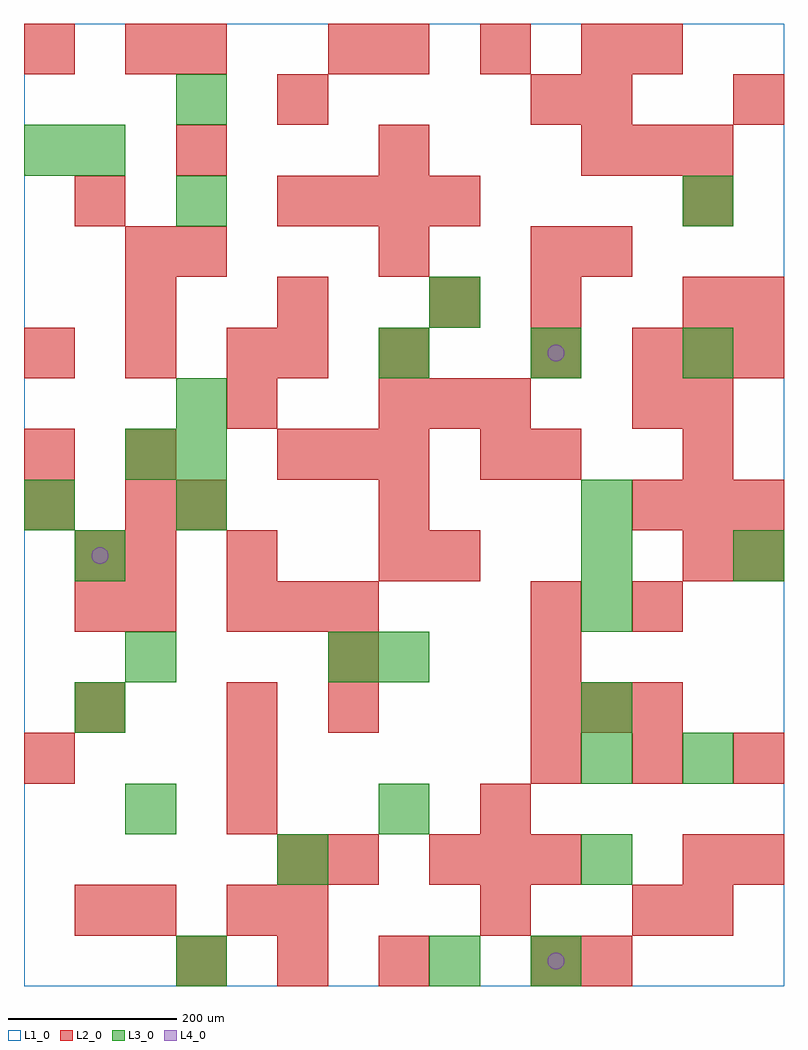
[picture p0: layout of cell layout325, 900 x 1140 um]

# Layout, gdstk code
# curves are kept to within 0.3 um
import gdstk
lib = gdstk.Library(unit=1e-6, precision=1e-09)
def R(c, l, rs):  # rectangles x0, y0, x1, y1
    for r in rs: c.add(gdstk.rectangle(r[:2], r[2:], *l))
def A(c, l, x, y, w, h, nx, ny, dx, dy):  # array of equal rectangles
    R(c, l, [(x+i*dx, y+j*dy, x+i*dx+w, y+j*dy+h) for i in range(nx) for j in range(ny)])
def P(c, l, *ps):  # polygons
    for p in ps: c.add(gdstk.Polygon(p, *l))
L1_0 = (1, 0)
L2_0 = (2, 0)
L3_0 = (3, 0)
L4_0 = (4, 0)

layout325 = lib.new_cell('layout325')
R(layout325, L1_0, [(0,0,900,1140)])
A(layout325, L2_0, 180, 0, 60, 60, 3, 1, 120, 0)
A(layout325, L2_0, 480, 120, 60, 60, 3, 1, 60, 0)
A(layout325, L2_0, 240, 180, 60, 60, 1, 3, 0, 60)
A(layout325, L2_0, 600, 240, 60, 60, 3, 1, 120, 0)
A(layout325, L2_0, 600, 300, 60, 60, 3, 1, 60, 0)
A(layout325, L2_0, 120, 420, 60, 60, 1, 4, 0, 60)
A(layout325, L2_0, 240, 420, 60, 60, 3, 1, 60, 0)
A(layout325, L2_0, 720, 540, 60, 60, 3, 2, 60, 180)
A(layout325, L2_0, 300, 600, 60, 60, 3, 1, 60, 0)
A(layout325, L2_0, 420, 660, 60, 60, 3, 1, 60, 0)
A(layout325, L2_0, 780, 660, 60, 60, 1, 3, 0, 120)
A(layout325, L2_0, 0, 720, 60, 60, 3, 1, 120, 0)
A(layout325, L2_0, 600, 720, 60, 60, 1, 3, 0, 60)
A(layout325, L2_0, 120, 780, 60, 60, 3, 1, 180, 0)
A(layout325, L2_0, 300, 900, 60, 60, 4, 1, 60, 0)
A(layout325, L2_0, 180, 960, 60, 60, 3, 1, 240, 0)
A(layout325, L2_0, 420, 1080, 60, 60, 3, 1, 120, 0)
R(layout325, L2_0, [(600,0,660,60), (660,0,720,60), (60,60,120,120), (120,60,180,120), (240,60,300,120), (300,60,360,120), (540,60,600,120), (720,60,780,120), (780,60,840,120), (300,120,360,180), (360,120,420,180), (780,120,840,180), (840,120,900,180), (540,180,600,240), (0,240,60,300), (60,300,120,360), (360,300,420,360), (360,360,420,420), (600,360,660,420), (60,420,120,480), (600,420,660,480), (720,420,780,480), (60,480,120,540), (240,480,300,540), (420,480,480,540), (480,480,540,540), (780,480,840,540), (840,480,900,540), (0,540,60,600), (180,540,240,600), (420,540,480,600), (0,600,60,660), (540,600,600,660), (600,600,660,660), (780,600,840,660), (240,660,300,720), (720,660,780,720), (300,720,360,780), (420,720,480,780), (840,780,900,840), (120,840,180,900), (180,840,240,900), (420,840,480,900), (660,840,720,900), (60,900,120,960), (720,960,780,1020), (780,960,840,1020), (300,1020,360,1080), (600,1020,660,1080), (660,1020,720,1080), (840,1020,900,1080), (0,1080,60,1140), (120,1080,180,1140), (180,1080,240,1140), (360,1080,420,1140), (720,1080,780,1140)])
A(layout325, L3_0, 660, 420, 60, 60, 1, 3, 0, 60)
A(layout325, L3_0, 180, 540, 60, 60, 1, 3, 0, 60)
A(layout325, L3_0, 420, 720, 60, 60, 3, 1, 180, 0)
R(layout325, L3_0, [(180,0,240,60), (480,0,540,60), (600,0,660,60), (300,120,360,180), (660,120,720,180), (120,180,180,240), (420,180,480,240), (660,240,720,300), (780,240,840,300), (60,300,120,360), (660,300,720,360), (120,360,180,420), (360,360,420,420), (420,360,480,420), (60,480,120,540), (840,480,900,540), (0,540,60,600), (120,600,180,660), (480,780,540,840), (180,900,240,960), (780,900,840,960), (0,960,60,1020), (60,960,120,1020), (180,1020,240,1080)])
P(layout325, L4_0, [(100,510),(99.239,513.827),(97.071,517.071),(93.827,519.239),(90,520),(86.173,519.239),(82.929,517.071),(80.761,513.827),(80,510),(80.761,506.173),(82.929,502.929),(86.173,500.761),(90,500),(93.827,500.761),(97.071,502.929),(99.239,506.173)],
  [(640,30),(639.239,33.827),(637.071,37.071),(633.827,39.239),(630,40),(626.173,39.239),(622.929,37.071),(620.761,33.827),(620,30),(620.761,26.173),(622.929,22.929),(626.173,20.761),(630,20),(633.827,20.761),(637.071,22.929),(639.239,26.173)],
  [(640,750),(639.239,753.827),(637.071,757.071),(633.827,759.239),(630,760),(626.173,759.239),(622.929,757.071),(620.761,753.827),(620,750),(620.761,746.173),(622.929,742.929),(626.173,740.761),(630,740),(633.827,740.761),(637.071,742.929),(639.239,746.173)])

lib.write_gds('layout325.gds')
